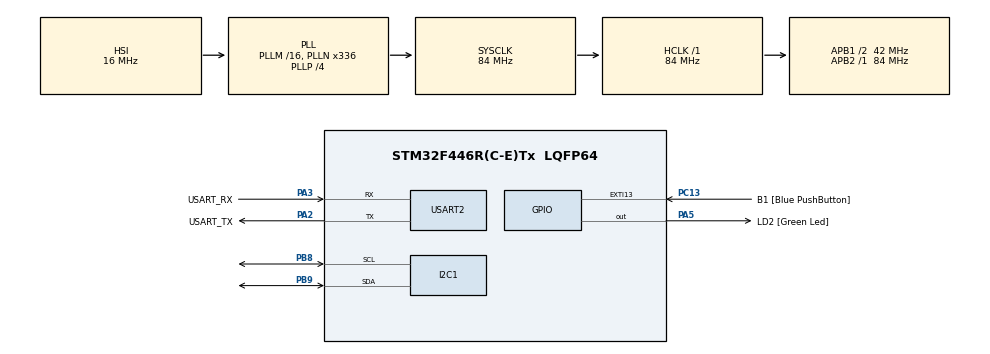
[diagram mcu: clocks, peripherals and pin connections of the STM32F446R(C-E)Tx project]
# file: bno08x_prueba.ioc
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Mcu.Family=STM32F4
Mcu.Name=STM32F446R(C-E)Tx
Mcu.Package=LQFP64
NVIC.PriorityGroup=NVIC_PRIORITYGROUP_0
PA13.GPIO_Label=TMS
PA13.Mode=Serial_Wire
PA13.Signal=SYS_JTMS-SWDIO
PA14.GPIO_Label=TCK
PA14.Mode=Serial_Wire
PA14.Signal=SYS_JTCK-SWCLK
PA2.GPIO_Label=USART_TX
PA2.Mode=Asynchronous
PA2.Signal=USART2_TX
PA3.GPIO_Label=USART_RX
PA3.Mode=Asynchronous
PA3.Signal=USART2_RX
PA5.GPIO_Label=LD2 [Green Led]
PA5.Signal=GPIO_Output
PB3.GPIO_Label=SWO
PB3.Signal=SYS_JTDO-SWO
PB8.Mode=I2C
PB8.Signal=I2C1_SCL
PB9.Mode=I2C
PB9.Signal=I2C1_SDA
PC13.GPIO_Label=B1 [Blue PushButton]
PC13.GPIO_ModeDefaultEXTI=GPIO_MODE_IT_FALLING
PC13.Signal=GPXTI13
PC14-OSC32_IN.Mode=LSE-External-Oscillator
PC14-OSC32_IN.Signal=RCC_OSC32_IN
PC15-OSC32_OUT.Mode=LSE-External-Oscillator
PC15-OSC32_OUT.Signal=RCC_OSC32_OUT
PH0-OSC_IN.Mode=HSE-External-Oscillator
PH0-OSC_IN.Signal=RCC_OSC_IN
PH1-OSC_OUT.Mode=HSE-External-Oscillator
PH1-OSC_OUT.Signal=RCC_OSC_OUT
ProjectManager.HeapSize=0x200
ProjectManager.StackSize=0x400
ProjectManager.TargetToolchain=STM32CubeIDE
RCC.48MHZClocksFreq_Value=84000000
RCC.AHBFreq_Value=84000000
RCC.APB1CLKDivider=RCC_HCLK_DIV2
RCC.APB1Freq_Value=42000000
RCC.APB1TimFreq_Value=84000000
RCC.APB2Freq_Value=84000000
RCC.APB2TimFreq_Value=84000000
RCC.CortexFreq_Value=84000000
RCC.FLatency-AdvancedSettings=FLASH_LATENCY_2
RCC.HCLKFreq_Value=84000000
RCC.HSE_VALUE=8000000
RCC.HSI_VALUE=16000000
RCC.PLLN=336
RCC.PLLP=RCC_PLLP_DIV4
RCC.SYSCLKFreq_VALUE=84000000
RCC.SYSCLKSource=RCC_SYSCLKSOURCE_PLLCLK
RCC.USBFreq_Value=168000000
RCC.VCOOutputFreq_Value=336000000
USART2.VirtualMode=VM_ASYNC
board=NUCLEO-F446RE

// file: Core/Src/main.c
/* USER CODE BEGIN Header */
/**
  ******************************************************************************
  * @file           : main.c
  * @brief          : Main program body
  ******************************************************************************
  * @attention
  *
  * Copyright (c) 2026 STMicroelectronics.
  * All rights reserved.
  *
  * This software is licensed under terms that can be found in the LICENSE file
  * in the root directory of this software component.
  * If no LICENSE file comes with this software, it is provided AS-IS.
  *
  ******************************************************************************
  */
/* USER CODE END Header */
#include "main.h"

/* USER CODE BEGIN Includes */
#include <stdio.h>
#include <string.h>
#define BNO08X_ADDR  (0x4A << 1)

/* USER CODE END Includes */

I2C_HandleTypeDef hi2c1;

UART_HandleTypeDef huart2;

void SystemClock_Config(void);
static void MX_GPIO_Init(void);
static void MX_USART2_UART_Init(void);
static void MX_I2C1_Init(void);

int main(void)
{

  /* MCU Configuration--------------------------------------------------------*/

  /* Reset of all peripherals, Initializes the Flash interface and the Systick. */
  HAL_Init();

  /* Configure the system clock */
  SystemClock_Config();

  /* Initialize all configured peripherals */
  MX_GPIO_Init();
  MX_USART2_UART_Init();
  MX_I2C1_Init();
  /* USER CODE BEGIN 2 */
 // i2c_scan();
  bno_ping();
  /* USER CODE END 2 */

  /* Infinite loop */
  while (1)
  {

    /* USER CODE BEGIN 3 */

	  bno_read_raw();
	  HAL_Delay(200);
  }
  /* USER CODE END 3 */
}

void SystemClock_Config(void)
{
  RCC_OscInitTypeDef RCC_OscInitStruct = {0};
  RCC_ClkInitTypeDef RCC_ClkInitStruct = {0};

  /** Configure the main internal regulator output voltage
  */
  __HAL_RCC_PWR_CLK_ENABLE();
  __HAL_PWR_VOLTAGESCALING_CONFIG(PWR_REGULATOR_VOLTAGE_SCALE3);

  /** Initializes the RCC Oscillators according to the specified parameters
  * in the RCC_OscInitTypeDef structure.
  */
  RCC_OscInitStruct.OscillatorType = RCC_OSCILLATORTYPE_HSI;
  RCC_OscInitStruct.HSIState = RCC_HSI_ON;
  RCC_OscInitStruct.HSICalibrationValue = RCC_HSICALIBRATION_DEFAULT;
  RCC_OscInitStruct.PLL.PLLState = RCC_PLL_ON;
  RCC_OscInitStruct.PLL.PLLSource = RCC_PLLSOURCE_HSI;
  RCC_OscInitStruct.PLL.PLLM = 16;
  RCC_OscInitStruct.PLL.PLLN = 336;
  RCC_OscInitStruct.PLL.PLLP = RCC_PLLP_DIV4;
  RCC_OscInitStruct.PLL.PLLQ = 2;
  RCC_OscInitStruct.PLL.PLLR = 2;
  if (HAL_RCC_OscConfig(&RCC_OscInitStruct) != HAL_OK)
  {
    Error_Handler();
  }

  /** Initializes the CPU, AHB and APB buses clocks
  */
  RCC_ClkInitStruct.ClockType = RCC_CLOCKTYPE_HCLK|RCC_CLOCKTYPE_SYSCLK
                              |RCC_CLOCKTYPE_PCLK1|RCC_CLOCKTYPE_PCLK2;
  RCC_ClkInitStruct.SYSCLKSource = RCC_SYSCLKSOURCE_PLLCLK;
  RCC_ClkInitStruct.AHBCLKDivider = RCC_SYSCLK_DIV1;
  RCC_ClkInitStruct.APB1CLKDivider = RCC_HCLK_DIV2;
  RCC_ClkInitStruct.APB2CLKDivider = RCC_HCLK_DIV1;

  if (HAL_RCC_ClockConfig(&RCC_ClkInitStruct, FLASH_LATENCY_2) != HAL_OK)
  {
    Error_Handler();
  }
}

static void MX_I2C1_Init(void)
{

  hi2c1.Instance = I2C1;
  hi2c1.Init.ClockSpeed = 100000;
  hi2c1.Init.DutyCycle = I2C_DUTYCYCLE_2;
  hi2c1.Init.OwnAddress1 = 0;
  hi2c1.Init.AddressingMode = I2C_ADDRESSINGMODE_7BIT;
  hi2c1.Init.DualAddressMode = I2C_DUALADDRESS_DISABLE;
  hi2c1.Init.OwnAddress2 = 0;
  hi2c1.Init.GeneralCallMode = I2C_GENERALCALL_DISABLE;
  hi2c1.Init.NoStretchMode = I2C_NOSTRETCH_DISABLE;
  if (HAL_I2C_Init(&hi2c1) != HAL_OK)
  {
    Error_Handler();
  }

}

static void MX_USART2_UART_Init(void)
{

  huart2.Instance = USART2;
  huart2.Init.BaudRate = 115200;
  huart2.Init.WordLength = UART_WORDLENGTH_8B;
  huart2.Init.StopBits = UART_STOPBITS_1;
  huart2.Init.Parity = UART_PARITY_NONE;
  huart2.Init.Mode = UART_MODE_TX_RX;
  huart2.Init.HwFlowCtl = UART_HWCONTROL_NONE;
  huart2.Init.OverSampling = UART_OVERSAMPLING_16;
  if (HAL_UART_Init(&huart2) != HAL_OK)
  {
    Error_Handler();
  }

}

static void MX_GPIO_Init(void)
{
  GPIO_InitTypeDef GPIO_InitStruct = {0};

  /* GPIO Ports Clock Enable */
  __HAL_RCC_GPIOC_CLK_ENABLE();
  __HAL_RCC_GPIOH_CLK_ENABLE();
  __HAL_RCC_GPIOA_CLK_ENABLE();
  __HAL_RCC_GPIOB_CLK_ENABLE();

  /*Configure GPIO pin Output Level */
  HAL_GPIO_WritePin(LD2_GPIO_Port, LD2_Pin, GPIO_PIN_RESET);

  /*Configure GPIO pin : B1_Pin */
  GPIO_InitStruct.Pin = B1_Pin;
  GPIO_InitStruct.Mode = GPIO_MODE_IT_FALLING;
  GPIO_InitStruct.Pull = GPIO_NOPULL;
  HAL_GPIO_Init(B1_GPIO_Port, &GPIO_InitStruct);

  /*Configure GPIO pin : LD2_Pin */
  GPIO_InitStruct.Pin = LD2_Pin;
  GPIO_InitStruct.Mode = GPIO_MODE_OUTPUT_PP;
  GPIO_InitStruct.Pull = GPIO_NOPULL;
  GPIO_InitStruct.Speed = GPIO_SPEED_FREQ_LOW;
  HAL_GPIO_Init(LD2_GPIO_Port, &GPIO_InitStruct);

}

/* USER CODE BEGIN 4 */
void i2c_scan(void)
{
    char msg[64];
    uint8_t count = 0;

    for (uint8_t addr = 1; addr < 127; addr++)
    {
        if (HAL_I2C_IsDeviceReady(&hi2c1, addr << 1, 2, 10) == HAL_OK)
        {
            int len = sprintf(msg, "I2C device found at 0x%02X\r\n", addr);
            HAL_UART_Transmit(&huart2, (uint8_t*)msg, len, HAL_MAX_DELAY);
            count++;
        }
    }

    if (count == 0)
    {
        char *no = "No I2C devices found\r\n";
        HAL_UART_Transmit(&huart2, (uint8_t*)no, strlen(no), HAL_MAX_DELAY);
    }
}

void bno_ping(void)
{
    uint8_t pkt[] = {0x01, 0x00};   // paquete SH2 vacío mínimo

    if (HAL_I2C_Master_Transmit(&hi2c1, BNO08X_ADDR, pkt, sizeof(pkt), 100) == HAL_OK)
    {
        char *ok = "BNO08x write OK\r\n";
        HAL_UART_Transmit(&huart2, (uint8_t*)ok, strlen(ok), HAL_MAX_DELAY);
    }
    else
    {
        char *er = "BNO08x write FAIL\r\n";
        HAL_UART_Transmit(&huart2, (uint8_t*)er, strlen(er), HAL_MAX_DELAY);
    }
}

void bno_read_raw(void)
{
    uint8_t header[4];

    if (HAL_I2C_Master_Receive(&hi2c1, BNO08X_ADDR, header, 4, 200) == HAL_OK)
    {
        char msg[64];
        sprintf(msg, "BNO RX: %02X %02X %02X %02X\r\n",
                header[0], header[1], header[2], header[3]);
        HAL_UART_Transmit(&huart2, (uint8_t*)msg, strlen(msg), HAL_MAX_DELAY);
    }
    else
    {
        char *er = "BNO RX FAIL\r\n";
        HAL_UART_Transmit(&huart2, (uint8_t*)er, strlen(er), HAL_MAX_DELAY);
    }
}

/* USER CODE END 4 */

void Error_Handler(void)
{
  __disable_irq();
  while (1)
  {
  }
}
